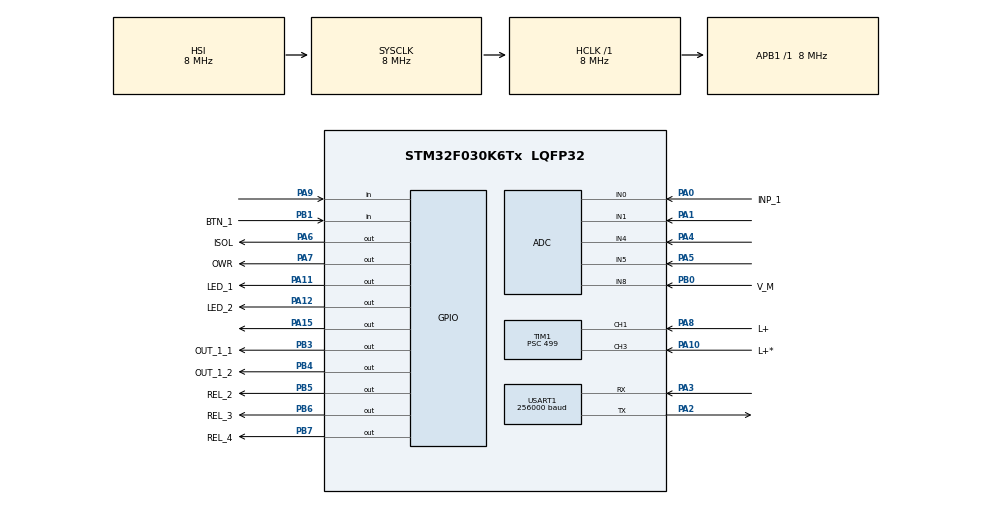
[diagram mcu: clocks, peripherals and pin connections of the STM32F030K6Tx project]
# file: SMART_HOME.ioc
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ADC.ContinuousConvMode=DISABLE
ADC.EnableAnalogWatchDog=false
ADC.SamplingTime=ADC_SAMPLETIME_7CYCLES_5
ADC.ScanConvMode=ADC_SCAN_DIRECTION_FORWARD
Dma.Request0=USART1_TX
Dma.USART1_TX.0.Direction=DMA_MEMORY_TO_PERIPH
Dma.USART1_TX.0.Instance=DMA1_Channel2
Dma.USART1_TX.0.MemDataAlignment=DMA_MDATAALIGN_BYTE
Dma.USART1_TX.0.MemInc=DMA_MINC_ENABLE
Dma.USART1_TX.0.Mode=DMA_NORMAL
Dma.USART1_TX.0.PeriphDataAlignment=DMA_PDATAALIGN_BYTE
Dma.USART1_TX.0.PeriphInc=DMA_PINC_DISABLE
Dma.USART1_TX.0.Priority=DMA_PRIORITY_LOW
IWDG.Prescaler=IWDG_PRESCALER_64
Mcu.Family=STM32F0
Mcu.Name=STM32F030K6Tx
Mcu.Package=LQFP32
NVIC.ADC1_IRQn=true\:0\:0\:false\:false\:true\:true\:true\:true
NVIC.DMA1_Channel2_3_IRQn=true\:0\:0\:false\:false\:true\:false\:true\:true
NVIC.RCC_IRQn=true\:0\:0\:false\:false\:true\:true\:false\:true
NVIC.TIM1_BRK_UP_TRG_COM_IRQn=true\:0\:0\:false\:false\:true\:true\:true\:true
NVIC.TIM1_CC_IRQn=true\:0\:0\:false\:false\:true\:true\:true\:true
NVIC.TIM3_IRQn=true\:0\:0\:false\:false\:true\:true\:true\:true
NVIC.USART1_IRQn=true\:0\:0\:false\:false\:true\:true\:true\:true
PA0.GPIO_Label=INP_1
PA0.Mode=IN0
PA0.Signal=ADC_IN0
PA1.Mode=IN1
PA1.Signal=ADC_IN1
PA10.GPIO_Label=L+*
PA10.GPIO_PuPd=GPIO_NOPULL
PA10.Signal=S_TIM1_CH3
PA11.GPIO_Label=LED_1
PA11.Signal=GPIO_Output
PA12.GPIO_Label=LED_2
PA12.Signal=GPIO_Output
PA13.Mode=Serial_Wire
PA13.Signal=SYS_SWDIO
PA14.Mode=Serial_Wire
PA14.Signal=SYS_SWCLK
PA15.Signal=GPIO_Output
PA2.Mode=Asynchronous
PA2.Signal=USART1_TX
PA3.Mode=Asynchronous
PA3.Signal=USART1_RX
PA4.Mode=IN4
PA4.Signal=ADC_IN4
PA5.Mode=IN5
PA5.Signal=ADC_IN5
PA6.GPIO_Label=ISOL
PA6.Signal=GPIO_Output
PA7.GPIO_Label=OWR
PA7.GPIO_Speed=GPIO_SPEED_FREQ_HIGH
PA7.Signal=GPIO_Output
PA8.GPIO_Label=L+
PA8.GPIO_PuPd=GPIO_NOPULL
PA8.Signal=S_TIM1_CH1
PA9.Signal=GPIO_Input
PB0.GPIO_Label=V_M
PB0.Mode=IN8
PB0.Signal=ADC_IN8
PB1.GPIO_Label=BTN_1
PB1.Signal=GPIO_Input
PB3.GPIO_Label=OUT_1_1
PB3.Signal=GPIO_Output
PB4.GPIO_Label=OUT_1_2
PB4.Signal=GPIO_Output
PB5.GPIO_Label=REL_2
PB5.Signal=GPIO_Output
PB6.GPIO_Label=REL_3
PB6.Signal=GPIO_Output
PB7.GPIO_Label=REL_4
PB7.Signal=GPIO_Output
PF0-OSC_IN.Mode=HSE-External-Oscillator
PF0-OSC_IN.Signal=RCC_OSC_IN
PF1-OSC_OUT.Mode=HSE-External-Oscillator
PF1-OSC_OUT.Signal=RCC_OSC_OUT
ProjectManager.HeapSize=0x200
ProjectManager.StackSize=0x400
ProjectManager.TargetToolchain=STM32CubeIDE
RCC.AHBFreq_Value=8000000
RCC.APB1Freq_Value=8000000
RCC.APB1TimFreq_Value=8000000
RCC.HCLKFreq_Value=8000000
RCC.PLLMUL=RCC_PLL_MUL6
RCC.SYSCLKFreq_VALUE=8000000
RCC.Usart1ClockSelection=RCC_USART1CLKSOURCE_HSI
SH.S_TIM1_CH1.0=TIM1_CH1,Input_Capture1_from_TI1
SH.S_TIM1_CH3.0=TIM1_CH3,Input_Capture3_from_TI3
TIM1.Channel-Input_Capture1_from_TI1=TIM_CHANNEL_1
TIM1.Channel-Input_Capture2_from_TI1_63=TIM_CHANNEL_2
TIM1.Channel-Input_Capture3_from_TI3=TIM_CHANNEL_3
TIM1.Channel-Input_Capture4_from_TI3_63=TIM_CHANNEL_4
TIM1.ICFilter_CH3=10
TIM1.ICPolarity_CH1=TIM_INPUTCHANNELPOLARITY_FALLING
TIM1.ICPolarity_CH2=TIM_INPUTCHANNELPOLARITY_RISING
TIM1.ICPolarity_CH3=TIM_INPUTCHANNELPOLARITY_FALLING
TIM1.Period=40000
TIM1.Prescaler=499
USART1.BaudRate=256000
USART1.VirtualMode-Asynchronous=VM_ASYNC
VP_ADC_TempSens_Input.Mode=IN-TempSens
VP_ADC_Vref_Input.Mode=IN-Vrefint
VP_IWDG_VS_IWDG.Mode=IWDG_Activate
VP_TIM1_VS_ClockSourceINT.Mode=Internal
VP_TIM1_VS_indirect_ch1.Mode=Input_Capture2_from_TI1_63
VP_TIM1_VS_indirect_ch3.Mode=Input_Capture4_from_TI3_63
VP_TIM3_VS_ClockSourceINT.Mode=Internal
board=custom

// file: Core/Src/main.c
/* USER CODE BEGIN Header */
/**
  ******************************************************************************
  * @file           : main.c
  * @brief          : Main program body
  ******************************************************************************
  * @attention
  *
  * Copyright (c) 2023 STMicroelectronics.
  * All rights reserved.
  *
  * This software is licensed under terms that can be found in the LICENSE file
  * in the root directory of this software component.
  * If no LICENSE file comes with this software, it is provided AS-IS.
  *
  ******************************************************************************
  */
/* USER CODE END Header */
#include "main.h"

/* USER CODE BEGIN Includes */
#include "string.h"
#include "stdint.h"
#include "stdio.h"
#include "math.h"

/* USER CODE END Includes */

/* USER CODE BEGIN PTD */

#define LED1_ON     HAL_GPIO_WritePin(GPIOA, GPIO_PIN_11,GPIO_PIN_SET);
#define LED1_OFF    HAL_GPIO_WritePin(GPIOA, GPIO_PIN_11,GPIO_PIN_RESET);

#define LED2_ON     HAL_GPIO_WritePin(GPIOA, GPIO_PIN_12,GPIO_PIN_SET);
#define LED2_OFF    HAL_GPIO_WritePin(GPIOA, GPIO_PIN_12,GPIO_PIN_RESET);

#define REL1_2_ON     HAL_GPIO_WritePin(GPIOB, GPIO_PIN_4,GPIO_PIN_SET);
#define REL1_2_OFF    HAL_GPIO_WritePin(GPIOB, GPIO_PIN_4,GPIO_PIN_RESET);

#define REL2_1_ON     HAL_GPIO_WritePin(GPIOB, GPIO_PIN_5,GPIO_PIN_SET);
#define REL2_1_OFF    HAL_GPIO_WritePin(GPIOB, GPIO_PIN_5,GPIO_PIN_RESET);

#define REL2_2_ON     HAL_GPIO_WritePin(GPIOB, GPIO_PIN_6,GPIO_PIN_SET);
#define REL2_2_OFF    HAL_GPIO_WritePin(GPIOB, GPIO_PIN_6,GPIO_PIN_RESET);

#define REL3_1_ON     HAL_GPIO_WritePin(GPIOB, GPIO_PIN_7,GPIO_PIN_SET);
#define REL3_1_OFF    HAL_GPIO_WritePin(GPIOB, GPIO_PIN_7,GPIO_PIN_RESET);

#define REL1_1_ON     HAL_GPIO_WritePin(GPIOB, GPIO_PIN_3,GPIO_PIN_SET);
#define REL1_1_OFF    HAL_GPIO_WritePin(GPIOB, GPIO_PIN_3,GPIO_PIN_RESET);

#define REL3_2_ON     HAL_GPIO_WritePin(GPIOA, GPIO_PIN_15,GPIO_PIN_SET);
#define REL3_2_OFF    HAL_GPIO_WritePin(GPIOA, GPIO_PIN_15,GPIO_PIN_RESET);

#define OWR_ON     HAL_GPIO_WritePin(GPIOA, GPIO_PIN_7,GPIO_PIN_SET);
#define OWR_OFF    HAL_GPIO_WritePin(GPIOA, GPIO_PIN_7,GPIO_PIN_RESET);

#define ISOL_ON     HAL_GPIO_WritePin(GPIOA, GPIO_PIN_6,GPIO_PIN_SET);
#define ISOL_OFF    HAL_GPIO_WritePin(GPIOA, GPIO_PIN_6,GPIO_PIN_RESET);

//#define   BTN  HAL_GPIO_ReadPin(GPIOB,GPIO_PIN_1)==0;
//#define   INP  HAL_GPIO_ReadPin(GPIOA,GPIO_PIN_9);

#define SETTINGS_ADDRESS 0x08007C00
#define TEMP30_CAL_ADDR ((uint16_t*) ((uint32_t) 0x1FFFF7B8))
#define VDD_CALIB ((uint32_t) (3300))
#define VDD_APPLI ((uint32_t) (3000))
#define AVG_SLOPE  .0025
#define V25  0.76

/* USER CODE END PTD */

ADC_HandleTypeDef hadc;

IWDG_HandleTypeDef hiwdg;

TIM_HandleTypeDef htim1;
TIM_HandleTypeDef htim3;

UART_HandleTypeDef huart1;
DMA_HandleTypeDef hdma_usart1_tx;

/* USER CODE BEGIN PV */
//uint16_t adc_val[7]={0,};
uint16_t adc_out=0;
uint16_t period=0;
uint16_t period_x=0;
uint16_t pulse=0;
uint16_t pulse_x=0;
uint16_t v_batt=0;
uint16_t v_CPU=0;
uint16_t temp=0;
uint16_t inp_1=0;
uint16_t inp_2=0;
uint16_t inp_3=0;
uint16_t inp_4=0;
uint8_t alarm=0;
char str[38]={0, };
uint8_t rcvd[248]={0,};
uint8_t count=0;
uint8_t rcv_addres=0;
uint8_t addres_call=0;
uint8_t directive=0;
uint8_t addres=3;
uint8_t new_addres=0;
uint8_t Device_ID=157;//108 БСА
uint8_t temp_ID=0;
uint8_t settings[4]={0,};
uint8_t line_status=0;
uint8_t isol_status=0;
uint8_t led_status=0;
/* USER CODE END PV */

void SystemClock_Config(void);
static void MX_GPIO_Init(void);
static void MX_DMA_Init(void);
static void MX_TIM1_Init(void);
static void MX_USART1_UART_Init(void);
static void MX_ADC_Init(void);
static void MX_TIM3_Init(void);
static void MX_IWDG_Init(void);
/* USER CODE BEGIN PFP */

uint32_t FlashRead(uint32_t address) {
 return (*(__IO uint32_t*)address);
}

void WriteConfig() {
 HAL_FLASH_Unlock(); // Открыть доступ к FLASH (она закрыта от случайной записи)
 // В структуре settings хранятся настройки, преобразую ее в 16-битный массив для удобства доступа
 uint16_t* data = (uint16_t*) &settings;
 FLASH_EraseInitTypeDef ef; // Объявляю структуру, необходимую для функции стирания страницы
 HAL_StatusTypeDef stat;
 ef.TypeErase = FLASH_TYPEERASE_PAGES; // Стирать постранично
 ef.PageAddress = SETTINGS_ADDRESS; // Адрес страницы для стирания
 ef.NbPages = 1; //Число страниц = 1
 uint32_t temp; // Временная переменная для результата стирания (не использую)
 HAL_FLASHEx_Erase(&ef, &temp); // Вызов функции стирания
 // Будьте уверены, что размер структуры настроек кратен 2 байтам
 for (int i = 0; i < sizeof(settings); i += 2) { // Запись всех настроек
  stat = HAL_FLASH_Program (FLASH_TYPEPROGRAM_HALFWORD, SETTINGS_ADDRESS + i, *(data++));
  if (stat != HAL_OK) break; // Если что-то пошло не так - выскочить из цикла
 }
 HAL_FLASH_Lock(); // Закрыть флешку от случайной записи
}

// Пример чтения только 4 байт настроек. Для бОльшего объема данных используйте цикл
void ReadConfig() {
 // Структуру настроек превращаю в указатель на массив 8-ми битных значений
 uint8_t* setData = (uint8_t*)&settings;
 LED1_ON;

 uint32_t tempData = FlashRead(SETTINGS_ADDRESS); // Прочесть слово из флешки
// uint32_t tempData  = *(__IO uint32_t *)SETTINGS_ADDRESS;
 if (tempData != 0xffffffff) { // Если флешка не пустая
 setData[0] = (uint8_t)((tempData & 0xff000000) >> 24); // �?звлечь первый байт из слова
 setData[1] = (uint8_t)((tempData & 0x00ff0000) >> 16); // �?звлечь второй байт из слова
 setData[2] = (uint8_t)((tempData & 0x0000ff00) >> 8); // �?злечь третий байт из слова
 setData[3] = tempData & 0xff; // �?звлечь четвертый байт из слова
 }
}

void Print_test(void){

	//sprintf(str, "\n\r Cnt-%02d,per-%04d,pul-%04d,adr-%04d,dir-%04d\n\r",count,period,pulse,rcv_addres,directive);
	sprintf(str, "\n\r Cnt-%02d,pul-%04d,adr-%04d,dir-%04d\n\r",count,rcvd[count],rcv_addres,directive);
	// LED2_ON;
	 HAL_UART_Transmit_DMA(&huart1, str, sizeof(str));

}

void TCT(void){

	                 if (count==13){OWR_ON;}
	                 if ((count==14)&&(alarm==1)){OWR_ON;LED2_ON;}
	                // if (count==14){Print_test();}
		        	 if (count==22){OWR_ON;}
		        	 if (count==31){OWR_ON;}
		        	 if (count==40){OWR_ON;}
		        	 if (count==49){OWR_ON;}
		        	 if (count==58){OWR_ON;}
		        	 if (count==67){OWR_ON;}
		        	 if (count==76){OWR_ON;}
		        	 if (count==85){OWR_ON;}
		        	 if (count==94){OWR_ON;}
		        	 if (count==103){OWR_ON;}
		        	 if (count==112){OWR_ON;}
		        	 if (count==121){OWR_ON;}
		        	 if (count==130){OWR_ON;}
		        	 if (count==139){OWR_ON;}
		        	 if (count==148){OWR_ON;}
		        	 if (count==157){OWR_ON;}

}

void Quick_protocol(void){
	 if((rcvd[1]==1)&&(rcvd[2]==0))
	        	  {

		               if(count==2){
	        	       addres_call=addres_call+1;
	        	       if(addres_call==addres){OWR_ON;}}
		               if((count==3)&&(addres_call==addres)&&(alarm==1)){OWR_ON;LED2_ON;}}}

void Protocol(void){

	//Print_test();
	           // if ((count==9)&&(alarm=1)){OWR_ON;}
	 if ((count==14)&&(alarm==1)){OWR_ON;LED2_ON;}
              TCT();

	        	 if (count==13)
	        	         	   {  directive=0;

	        	         	     directive|= (rcvd[9]<<4)|(rcvd[10]<<3)|(rcvd[11]<<2)|(rcvd[12]<<1)|(rcvd[13]) ;

	        	         	   OWR_ON;
	        	         	    }

	        	         	 switch(directive)
	        	         			   {

	        	         	case 0 :
	        	         		//led_status=0;
                                  TCT();
                                  if ((count==14)&&(alarm==1)){OWR_ON;LED2_ON;}
                                  if (count==15){OWR_ON;LED2_ON;}
	        	            break;

	        	         	case 1 :
	        	         		led_status=1;
	        	         	      TCT();

	        	         	     if ((count==14)&&(alarm==1)){OWR_ON;LED2_ON;}
	        	         	    if(count==29){OWR_ON;LED2_ON;LED1_ON;} //Светодиод
	        	            break;

	        	         	 case 2 :
	        	         		      TCT();

	        	         		      if ((count==14)&&(alarm==1)){OWR_ON;LED2_ON;}

	        	         	 break;

	        	          	 case 3 :
	        	          	//	led_status=0;
	        	         	                                   TCT();
	        	         	                                  if ((count==14)&&(alarm==1)){OWR_ON;LED2_ON;}
	        	         		        	         		 if((count>=14)&&(count<22))
	        	         		        	         		        	         	       {
	        	         		        	         		        	         	            temp_ID|=((Device_ID>>(21-count))&(0b1));
	        	         		        	         		        	         	            if(temp_ID==1){OWR_ON;}
	        	         		        	         		        	         	            if(temp_ID==0){OWR_OFF;}
	        	         		        	         		        	         	            temp_ID=0;
	        	         		        	         		        	         	       }

	        	         		        	         	/*     if((count>=23)&&(count<31)&&(alarm==1))  //Статус прибора.выходов
	        	         		        	         	             	        	      			{
	        	         		        	         	             	        	      				temp_ID|=((1)&(0b1));
	        	         		        	         	             	        	      				if(temp_ID==1){ OWR_ON;}
	        	         		        	         	             	        	      				if(temp_ID==0){ }
	        	         		        	         	             	        	      				temp_ID=0;
	        	         		        	         	            	        	      			}

	        	         		        	         	      */

	        	         		        	         //if(count==26){OWR_ON;}//EEPROM ERROR
	        	         		        	         //	if(count==27){OWR_ON;} //�?золятор линии
	        	         		        	         //	if(count==28){OWR_ON;} //Сработка изолятора
	        	         		        	         	if((count==29)&&(led_status==1)){OWR_ON;LED2_ON;} //Светодиод
	        	         		        	          if((count==30)&&(alarm==1)){OWR_ON;LED2_ON;} //Тревога

	        	         		        	         	  //   if((count>=32)&&(count<40)){OWR_ON;}
	        	         		        	         	 //  if((count==32)){OWR_ON;}  //КЗ шлейфа2
	        	         		        	         	// if((count==33)){OWR_ON;}  //ОБрыв шлейфа2
	        	         		        	         	// if((count==34)){OWR_ON;}  //КЗ шлейфа1
	        	         		        	         	//	if((count==35)){OWR_ON;}  //обрыв шлейфа1
	        	         		        	         	//	if((count==36)){OWR_ON;}  //неиспр реле
	        	         		        	         	//	if((count==37)){OWR_ON;}  //неиспр реле
	        	         		        	         	//	if((count==38)){OWR_ON;}  //неиспр реле
	        	         		        	         	//	if((count==39)){OWR_ON;}  //неиспр реле
	        	         		        	            //if((count==32)||(count==33)){OWR_ON;}  //Тревога шлейфа2
	        	         		        	         	//if((count==34)||(count==35)){OWR_ON;}  //Тревога шлейфа1
	        	         		        	            //if((count==36)||(count==37)){OWR_ON;}  //Неиспр реле
	        	         		        	            //  if((count==38)||(count==39)){OWR_ON;}  //обрыв цепи управления

	        	         		        	         if((count>=50)&&(count<58))
	        	         		        	            {
	        	         		        	        	  temp_ID|=((v_CPU>>(57-count))&(0b1));
	        	         		        	        	  if(temp_ID==1){OWR_ON;}
	        	         		        	        	  if(temp_ID==0){OWR_OFF;}
	        	         		        	        	  temp_ID=0;
	        	         		        	         }

	        	         		        	         //	   if((count>=86)||(count<94)){OWR_ON;}
	        	         		        	        // if((count=93)){OWR_ON;}

	        	         		        	              //Тестовый опрос
	        	         		        	         	//      if(count==44){ OWR_ON;}

	        	         		        	         	  break;

	        	         	case 4 :
	        	         		      TCT();
	        	         		break;

	        	         	 case 6 :

	        	         		 if(count==30){OWR_ON;}
	        	         	  if(count==45){OWR_ON;}
	        	            if(count==46)
	        	           {
	        	            	if((rcvd[35]==1)&&(rcvd[42]==1)) {LED1_ON;}
	        	                if((rcvd[36]==1)&&(rcvd[43]==1)) {LED1_OFF;}
	        	                if((rcvd[37]==1)&&(rcvd[44]==1)) {LED2_ON;}
	        	                if((rcvd[38]==1)&&(rcvd[45]==1)) {LED2_OFF;}

	        	         			        	         			   }

	        	         	 break;
	        	         	case 7 :
	        	         		  TCT();

	        	         	 if ((count==14)&&(alarm==1)){OWR_ON;LED2_ON;}
	        	         	 if (count==50){OWR_ON;}
	        	         	if (count==58){OWR_ON;}
	        	         	 if (count==60){OWR_ON;}
	        	         	 if (count==61){OWR_ON;}

	        	         	 break;

	        	         	 case 13 :

	        	         		        	         	 if(count==30){OWR_ON;}
	        	         		        	         	 if(count==45){OWR_ON;}
	        	         		        	         	 if(count==54){OWR_ON;}
	        	         		        	         	 if(count==63){OWR_ON;}
	        	         		        	         	 if(count==72){OWR_ON;}
	        	         		        	         	 if(count==81){OWR_ON;}
	        	         		        	         	 if(count==90){OWR_ON;}
	        	         		        	         	 if(count==99){OWR_ON;}
	        	         		        	         	 if(count==108){OWR_ON;}
	        	         		        	         	 if(count==117){OWR_ON;}
	        	         		        	         	 if(count==126){OWR_ON;WriteConfig();}
	        	         		        	         	//if(count==127){OWR_ON;WriteConfig();}

	        	         		        	            if(count==46)
	        	         		        	           {
	        	         		        	            	if((rcvd[35]==1)&&(rcvd[42]==1)) {LED1_ON;}
	        	         		        	                if((rcvd[36]==1)&&(rcvd[43]==1)) {LED1_OFF;}
	        	         		        	                if((rcvd[37]==1)&&(rcvd[44]==1)) {LED2_ON;}
	        	         		        	                if((rcvd[38]==1)&&(rcvd[45]==1)) {LED2_OFF;}

	        	         		        	         			        	         			   }

	        	         		        	           if (count==54)
	        	         		        	                           	        	    {
	        	         		        	                           	        	      new_addres=0;
	        	         		        	                           	        	      new_addres|= (rcvd[47]<<7)|(rcvd[48]<<6)|(rcvd[49]<<5)|(rcvd[50]<<4)|(rcvd[51]<<3)|(rcvd[52]<<2)|(rcvd[53]<<1)|(rcvd[54]);
                                                                                          addres=new_addres;
                                                                                          settings[0]=new_addres;
                                                                                          WriteConfig();
                                                                                          HAL_ResumeTick();
	        	         		        	                           	        	    }

	        	         		        	         	 break;

	        	         	  case 14 :

	        	         			   if(count==30){OWR_ON;}
	        	         			   if(count==45){OWR_ON;}
	        	         			   if(count==54){OWR_ON;}

	        	         			   if(count==46)
	        	         			   {

	        	         				   if((rcvd[35]==1)&&(rcvd[42]==1)) {LED1_ON;}
	        	         				   if((rcvd[36]==1)&&(rcvd[43]==1)) {LED1_OFF;}
	        	         				   if((rcvd[37]==1)&&(rcvd[44]==1)) {LED2_ON;}
	        	         				   if((rcvd[38]==1)&&(rcvd[45]==1)) {LED2_OFF;}
	        	         			   }
	        	         			   break;

	        	         			   }
                                  }

void ADC_reset_ch(void){

	 ADC_ChannelConfTypeDef sConfig = {0};

	              sConfig.Channel = ADC_CHANNEL_0;
	              sConfig.Rank = ADC_RANK_NONE;
	              HAL_ADC_ConfigChannel(&hadc, &sConfig);
	              sConfig.Channel = ADC_CHANNEL_1;
	              sConfig.Rank = ADC_RANK_NONE;
	              HAL_ADC_ConfigChannel(&hadc, &sConfig);
	              sConfig.Channel = ADC_CHANNEL_4;
	              sConfig.Rank = ADC_RANK_NONE;
	              HAL_ADC_ConfigChannel(&hadc, &sConfig);
	              sConfig.Channel = ADC_CHANNEL_5;
	              sConfig.Rank = ADC_RANK_NONE;
	              HAL_ADC_ConfigChannel(&hadc, &sConfig);
	              sConfig.Channel = ADC_CHANNEL_8;
	              sConfig.Rank = ADC_RANK_NONE;
	              HAL_ADC_ConfigChannel(&hadc, &sConfig);
	              sConfig.Channel = ADC_CHANNEL_TEMPSENSOR;
	              sConfig.Rank = ADC_RANK_NONE;
	              HAL_ADC_ConfigChannel(&hadc, &sConfig);
	              sConfig.Channel = ADC_CHANNEL_VREFINT;
	              sConfig.Rank = ADC_RANK_NONE;
	              HAL_ADC_ConfigChannel(&hadc, &sConfig);

}
void ADC_Select_CH0 (void)
	  {
	      ADC_ChannelConfTypeDef sConfig = {0};

	  	  sConfig.Channel = ADC_CHANNEL_0;
	  	  sConfig.Rank = ADC_RANK_CHANNEL_NUMBER;
	  	  sConfig.SamplingTime = ADC_SAMPLETIME_28CYCLES_5;
	  	 HAL_ADC_ConfigChannel(&hadc, &sConfig);

	  }

	  void ADC_Select_CH1 (void)
	    {
	    	ADC_ChannelConfTypeDef sConfig = {0};
	    	  /** Configure for the selected ADC regular channel its corresponding rank in the sequencer and its sample time.
	    	  */
	    	  sConfig.Channel = ADC_CHANNEL_1;
	    	  sConfig.Rank = ADC_RANK_CHANNEL_NUMBER;;
	    	  sConfig.SamplingTime = ADC_SAMPLETIME_28CYCLES_5;
	    	  HAL_ADC_ConfigChannel(&hadc, &sConfig);

	    }

	  void ADC_Select_CH4 (void)
	     {
	     	ADC_ChannelConfTypeDef sConfig = {0};
	     	  /** Configure for the selected ADC regular channel its corresponding rank in the sequencer and its sample time.
	     	  */
	     	  sConfig.Channel = ADC_CHANNEL_4;
	     	  sConfig.Rank = ADC_RANK_CHANNEL_NUMBER;
	     	  sConfig.SamplingTime = ADC_SAMPLETIME_13CYCLES_5;
	     	  HAL_ADC_ConfigChannel(&hadc, &sConfig);
	     }

	  void ADC_Select_CH5 (void)
	       {
	       	ADC_ChannelConfTypeDef sConfig = {0};
	       	  /** Configure for the selected ADC regular channel its corresponding rank in the sequencer and its sample time.
	       	  */
	       	  sConfig.Channel = ADC_CHANNEL_5;
	       	  sConfig.Rank = ADC_RANK_CHANNEL_NUMBER;
	       	  sConfig.SamplingTime = ADC_SAMPLETIME_13CYCLES_5;
	       	  HAL_ADC_ConfigChannel(&hadc, &sConfig);
	       }

	  void ADC_Select_CH8 (void)
	         {
	         	ADC_ChannelConfTypeDef sConfig = {0};
	         	  /** Configure for the selected ADC regular channel its corresponding rank in the sequencer and its sample time.
	         	  */
	         	  sConfig.Channel = ADC_CHANNEL_8;
	         	  sConfig.Rank = ADC_RANK_CHANNEL_NUMBER;
	         	  sConfig.SamplingTime = ADC_SAMPLETIME_28CYCLES_5;
	         	  HAL_ADC_ConfigChannel(&hadc, &sConfig);
	         }

	  void ADC_Select_CHTemp (void)
	  {
	  	ADC_ChannelConfTypeDef sConfig = {0};
	  	  /** Configure for the selected ADC regular channel its corresponding rank in the sequencer and its sample time.
	  	  */
	  	  sConfig.Channel = ADC_CHANNEL_TEMPSENSOR;
	  	  sConfig.Rank = ADC_RANK_CHANNEL_NUMBER;
	  	  sConfig.SamplingTime =ADC_SAMPLETIME_28CYCLES_5;
	      HAL_ADC_ConfigChannel(&hadc, &sConfig);
	  }

	  void ADC_Select_CH_V_REF (void)
	    {
	    	ADC_ChannelConfTypeDef sConfig = {0};
	    	  /** Configure for the selected ADC regular channel its corresponding rank in the sequencer and its sample time.
	    	  */
	    	  sConfig.Channel = ADC_CHANNEL_VREFINT;
	    	  sConfig.Rank = ADC_RANK_CHANNEL_NUMBER;
	    	  sConfig.SamplingTime =ADC_SAMPLETIME_13CYCLES_5;
	    	  HAL_ADC_ConfigChannel(&hadc, &sConfig);
	    }

	  uint16_t ADC_read(uint8_t n)

	  {

		  switch (n){

			  case 0:
		  ADC_reset_ch();
          ADC_Select_CH0();
          break;
			  case 1:
				  ADC_reset_ch();
		  ADC_Select_CH1();
          break;

			  case 2:
				  ADC_reset_ch();
		  ADC_Select_CH4();
		  break;

			  case 3:
				  ADC_reset_ch();
		  ADC_Select_CH5();
		  break;

			  case 4:
				  ADC_reset_ch();
		  ADC_Select_CH8();
		  break;

			  case 5:
				  ADC_reset_ch();
		  ADC_Select_CHTemp();
		  break;

			  case 6:
				  ADC_reset_ch();
		  ADC_Select_CH_V_REF();
		  break;

		  }
 		  HAL_ADC_Start(&hadc);
 		  HAL_ADC_PollForConversion(&hadc, 100);
 		  adc_out = HAL_ADC_GetValue(&hadc);
 		  HAL_ADC_Stop(&hadc);
 		// adc_val[n]=adc_out;
 		// return adc_val[n];

 		  return adc_out;
	  }
/* USER CODE END PFP */

int main(void)
{

  /* MCU Configuration--------------------------------------------------------*/

  /* Reset of all peripherals, Initializes the Flash interface and the Systick. */
  HAL_Init();

  /* Configure the system clock */
  SystemClock_Config();

  /* Initialize all configured peripherals */
  MX_GPIO_Init();
  MX_DMA_Init();
  MX_TIM1_Init();
  MX_USART1_UART_Init();
  MX_ADC_Init();
  MX_TIM3_Init();
  MX_IWDG_Init();
  /* USER CODE BEGIN 2 */

  ReadConfig();

      ISOL_ON;
      alarm=0;

     HAL_TIM_IC_Start_IT(&htim1, TIM_CHANNEL_1);
     HAL_TIM_IC_Start_IT(&htim1, TIM_CHANNEL_2);
     HAL_TIM_IC_Start_IT(&htim1, TIM_CHANNEL_3);
     HAL_TIM_IC_Start_IT(&htim1, TIM_CHANNEL_4);

     addres=settings[0];
     if(settings[0]==0xFF){addres=0;}
     LED1_OFF;
     LED2_OFF;
     HAL_PWR_EnterSLEEPMode(PWR_MAINREGULATOR_ON, PWR_SLEEPENTRY_WFI);
    HAL_SuspendTick();
   HAL_PWR_EnableSleepOnExit ();
  /* USER CODE END 2 */

  /* Infinite loop */
  /* USER CODE BEGIN WHILE */
  while (1)
  {

	//  LED1_ON;
	//  WriteConfig();
	//  LED1_OFF;
	//  HAL_SuspendTick();
	 // HAL_PWR_EnableSleepOnExit ();

    /* USER CODE END WHILE */

  }
}

void SystemClock_Config(void)
{
  RCC_OscInitTypeDef RCC_OscInitStruct = {0};
  RCC_ClkInitTypeDef RCC_ClkInitStruct = {0};
  RCC_PeriphCLKInitTypeDef PeriphClkInit = {0};

  /** Initializes the RCC Oscillators according to the specified parameters
  * in the RCC_OscInitTypeDef structure.
  */
  RCC_OscInitStruct.OscillatorType = RCC_OSCILLATORTYPE_HSI|RCC_OSCILLATORTYPE_HSI14
                              |RCC_OSCILLATORTYPE_LSI;
  RCC_OscInitStruct.HSIState = RCC_HSI_ON;
  RCC_OscInitStruct.HSI14State = RCC_HSI14_ON;
  RCC_OscInitStruct.HSICalibrationValue = RCC_HSICALIBRATION_DEFAULT;
  RCC_OscInitStruct.HSI14CalibrationValue = 16;
  RCC_OscInitStruct.LSIState = RCC_LSI_ON;
  RCC_OscInitStruct.PLL.PLLState = RCC_PLL_NONE;
  if (HAL_RCC_OscConfig(&RCC_OscInitStruct) != HAL_OK)
  {
    Error_Handler();
  }

  /** Initializes the CPU, AHB and APB buses clocks
  */
  RCC_ClkInitStruct.ClockType = RCC_CLOCKTYPE_HCLK|RCC_CLOCKTYPE_SYSCLK
                              |RCC_CLOCKTYPE_PCLK1;
  RCC_ClkInitStruct.SYSCLKSource = RCC_SYSCLKSOURCE_HSI;
  RCC_ClkInitStruct.AHBCLKDivider = RCC_SYSCLK_DIV1;
  RCC_ClkInitStruct.APB1CLKDivider = RCC_HCLK_DIV1;

  if (HAL_RCC_ClockConfig(&RCC_ClkInitStruct, FLASH_LATENCY_0) != HAL_OK)
  {
    Error_Handler();
  }
  PeriphClkInit.PeriphClockSelection = RCC_PERIPHCLK_USART1;
  PeriphClkInit.Usart1ClockSelection = RCC_USART1CLKSOURCE_HSI;
  if (HAL_RCCEx_PeriphCLKConfig(&PeriphClkInit) != HAL_OK)
  {
    Error_Handler();
  }
}

static void MX_ADC_Init(void)
{

  ADC_ChannelConfTypeDef sConfig = {0};

  /** Configure the global features of the ADC (Clock, Resolution, Data Alignment and number of conversion)
  */
  hadc.Instance = ADC1;
  hadc.Init.ClockPrescaler = ADC_CLOCK_ASYNC_DIV1;
  hadc.Init.Resolution = ADC_RESOLUTION_12B;
  hadc.Init.DataAlign = ADC_DATAALIGN_RIGHT;
  hadc.Init.ScanConvMode = ADC_SCAN_DIRECTION_FORWARD;
  hadc.Init.EOCSelection = ADC_EOC_SINGLE_CONV;
  hadc.Init.LowPowerAutoWait = DISABLE;
  hadc.Init.LowPowerAutoPowerOff = DISABLE;
  hadc.Init.ContinuousConvMode = DISABLE;
  hadc.Init.DiscontinuousConvMode = DISABLE;
  hadc.Init.ExternalTrigConv = ADC_SOFTWARE_START;
  hadc.Init.ExternalTrigConvEdge = ADC_EXTERNALTRIGCONVEDGE_NONE;
  hadc.Init.DMAContinuousRequests = DISABLE;
  hadc.Init.Overrun = ADC_OVR_DATA_PRESERVED;
  if (HAL_ADC_Init(&hadc) != HAL_OK)
  {
    Error_Handler();
  }

  /** Configure for the selected ADC regular channel to be converted.
  */
  sConfig.Channel = ADC_CHANNEL_0;
  sConfig.Rank = ADC_RANK_CHANNEL_NUMBER;
  sConfig.SamplingTime = ADC_SAMPLETIME_7CYCLES_5;
  if (HAL_ADC_ConfigChannel(&hadc, &sConfig) != HAL_OK)
  {
    Error_Handler();
  }

  /** Configure for the selected ADC regular channel to be converted.
  */
  sConfig.Channel = ADC_CHANNEL_1;
  if (HAL_ADC_ConfigChannel(&hadc, &sConfig) != HAL_OK)
  {
    Error_Handler();
  }

  /** Configure for the selected ADC regular channel to be converted.
  */
  sConfig.Channel = ADC_CHANNEL_4;
  if (HAL_ADC_ConfigChannel(&hadc, &sConfig) != HAL_OK)
  {
    Error_Handler();
  }

  /** Configure for the selected ADC regular channel to be converted.
  */
  sConfig.Channel = ADC_CHANNEL_5;
  if (HAL_ADC_ConfigChannel(&hadc, &sConfig) != HAL_OK)
  {
    Error_Handler();
  }

  /** Configure for the selected ADC regular channel to be converted.
  */
  sConfig.Channel = ADC_CHANNEL_8;
  if (HAL_ADC_ConfigChannel(&hadc, &sConfig) != HAL_OK)
  {
    Error_Handler();
  }

  /** Configure for the selected ADC regular channel to be converted.
  */
  sConfig.Channel = ADC_CHANNEL_TEMPSENSOR;
  if (HAL_ADC_ConfigChannel(&hadc, &sConfig) != HAL_OK)
  {
    Error_Handler();
  }

  /** Configure for the selected ADC regular channel to be converted.
  */
  sConfig.Channel = ADC_CHANNEL_VREFINT;
  if (HAL_ADC_ConfigChannel(&hadc, &sConfig) != HAL_OK)
  {
    Error_Handler();
  }

}

static void MX_IWDG_Init(void)
{

  hiwdg.Instance = IWDG;
  hiwdg.Init.Prescaler = IWDG_PRESCALER_64;
  hiwdg.Init.Window = 4095;
  hiwdg.Init.Reload = 4095;
  if (HAL_IWDG_Init(&hiwdg) != HAL_OK)
  {
    Error_Handler();
  }

}

static void MX_TIM1_Init(void)
{

  TIM_ClockConfigTypeDef sClockSourceConfig = {0};
  TIM_MasterConfigTypeDef sMasterConfig = {0};
  TIM_IC_InitTypeDef sConfigIC = {0};

  htim1.Instance = TIM1;
  htim1.Init.Prescaler = 499;
  htim1.Init.CounterMode = TIM_COUNTERMODE_UP;
  htim1.Init.Period = 40000;
  htim1.Init.ClockDivision = TIM_CLOCKDIVISION_DIV1;
  htim1.Init.RepetitionCounter = 0;
  htim1.Init.AutoReloadPreload = TIM_AUTORELOAD_PRELOAD_DISABLE;
  if (HAL_TIM_Base_Init(&htim1) != HAL_OK)
  {
    Error_Handler();
  }
  sClockSourceConfig.ClockSource = TIM_CLOCKSOURCE_INTERNAL;
  if (HAL_TIM_ConfigClockSource(&htim1, &sClockSourceConfig) != HAL_OK)
  {
    Error_Handler();
  }
  if (HAL_TIM_IC_Init(&htim1) != HAL_OK)
  {
    Error_Handler();
  }
  sMasterConfig.MasterOutputTrigger = TIM_TRGO_RESET;
  sMasterConfig.MasterSlaveMode = TIM_MASTERSLAVEMODE_DISABLE;
  if (HAL_TIMEx_MasterConfigSynchronization(&htim1, &sMasterConfig) != HAL_OK)
  {
    Error_Handler();
  }
  sConfigIC.ICPolarity = TIM_INPUTCHANNELPOLARITY_FALLING;
  sConfigIC.ICSelection = TIM_ICSELECTION_DIRECTTI;
  sConfigIC.ICPrescaler = TIM_ICPSC_DIV1;
  sConfigIC.ICFilter = 0;
  if (HAL_TIM_IC_ConfigChannel(&htim1, &sConfigIC, TIM_CHANNEL_1) != HAL_OK)
  {
    Error_Handler();
  }
  sConfigIC.ICPolarity = TIM_INPUTCHANNELPOLARITY_RISING;
  sConfigIC.ICSelection = TIM_ICSELECTION_INDIRECTTI;
  if (HAL_TIM_IC_ConfigChannel(&htim1, &sConfigIC, TIM_CHANNEL_2) != HAL_OK)
  {
    Error_Handler();
  }
  sConfigIC.ICPolarity = TIM_INPUTCHANNELPOLARITY_FALLING;
  sConfigIC.ICSelection = TIM_ICSELECTION_DIRECTTI;
  sConfigIC.ICFilter = 10;
  if (HAL_TIM_IC_ConfigChannel(&htim1, &sConfigIC, TIM_CHANNEL_3) != HAL_OK)
  {
    Error_Handler();
  }
  sConfigIC.ICPolarity = TIM_INPUTCHANNELPOLARITY_RISING;
  sConfigIC.ICSelection = TIM_ICSELECTION_INDIRECTTI;
  sConfigIC.ICFilter = 0;
  if (HAL_TIM_IC_ConfigChannel(&htim1, &sConfigIC, TIM_CHANNEL_4) != HAL_OK)
  {
    Error_Handler();
  }

}

static void MX_TIM3_Init(void)
{

  TIM_ClockConfigTypeDef sClockSourceConfig = {0};
  TIM_MasterConfigTypeDef sMasterConfig = {0};

  htim3.Instance = TIM3;
  htim3.Init.Prescaler = 0;
  htim3.Init.CounterMode = TIM_COUNTERMODE_UP;
  htim3.Init.Period = 65535;
  htim3.Init.ClockDivision = TIM_CLOCKDIVISION_DIV1;
  htim3.Init.AutoReloadPreload = TIM_AUTORELOAD_PRELOAD_DISABLE;
  if (HAL_TIM_Base_Init(&htim3) != HAL_OK)
  {
    Error_Handler();
  }
  sClockSourceConfig.ClockSource = TIM_CLOCKSOURCE_INTERNAL;
  if (HAL_TIM_ConfigClockSource(&htim3, &sClockSourceConfig) != HAL_OK)
  {
    Error_Handler();
  }
  sMasterConfig.MasterOutputTrigger = TIM_TRGO_RESET;
  sMasterConfig.MasterSlaveMode = TIM_MASTERSLAVEMODE_DISABLE;
  if (HAL_TIMEx_MasterConfigSynchronization(&htim3, &sMasterConfig) != HAL_OK)
  {
    Error_Handler();
  }

}

static void MX_USART1_UART_Init(void)
{

  huart1.Instance = USART1;
  huart1.Init.BaudRate = 256000;
  huart1.Init.WordLength = UART_WORDLENGTH_8B;
  huart1.Init.StopBits = UART_STOPBITS_1;
  huart1.Init.Parity = UART_PARITY_NONE;
  huart1.Init.Mode = UART_MODE_TX_RX;
  huart1.Init.HwFlowCtl = UART_HWCONTROL_NONE;
  huart1.Init.OverSampling = UART_OVERSAMPLING_16;
  huart1.Init.OneBitSampling = UART_ONE_BIT_SAMPLE_DISABLE;
  huart1.AdvancedInit.AdvFeatureInit = UART_ADVFEATURE_NO_INIT;
  if (HAL_UART_Init(&huart1) != HAL_OK)
  {
    Error_Handler();
  }

}

static void MX_DMA_Init(void)
{

  /* DMA controller clock enable */
  __HAL_RCC_DMA1_CLK_ENABLE();

  /* DMA interrupt init */
  /* DMA1_Channel2_3_IRQn interrupt configuration */
  HAL_NVIC_SetPriority(DMA1_Channel2_3_IRQn, 0, 0);
  HAL_NVIC_EnableIRQ(DMA1_Channel2_3_IRQn);

}

static void MX_GPIO_Init(void)
{
  GPIO_InitTypeDef GPIO_InitStruct = {0};

  /* GPIO Ports Clock Enable */
  __HAL_RCC_GPIOF_CLK_ENABLE();
  __HAL_RCC_GPIOA_CLK_ENABLE();
  __HAL_RCC_GPIOB_CLK_ENABLE();

  /*Configure GPIO pin Output Level */
  HAL_GPIO_WritePin(GPIOA, ISOL_Pin|OWR_Pin|LED_1_Pin|LED_2_Pin
                          |GPIO_PIN_15, GPIO_PIN_RESET);

  /*Configure GPIO pin Output Level */
  HAL_GPIO_WritePin(GPIOB, OUT_1_1_Pin|OUT_1_2_Pin|REL_2_Pin|REL_3_Pin
                          |REL_4_Pin, GPIO_PIN_RESET);

  /*Configure GPIO pins : ISOL_Pin LED_1_Pin LED_2_Pin PA15 */
  GPIO_InitStruct.Pin = ISOL_Pin|LED_1_Pin|LED_2_Pin|GPIO_PIN_15;
  GPIO_InitStruct.Mode = GPIO_MODE_OUTPUT_PP;
  GPIO_InitStruct.Pull = GPIO_NOPULL;
  GPIO_InitStruct.Speed = GPIO_SPEED_FREQ_LOW;
  HAL_GPIO_Init(GPIOA, &GPIO_InitStruct);

  /*Configure GPIO pin : OWR_Pin */
  GPIO_InitStruct.Pin = OWR_Pin;
  GPIO_InitStruct.Mode = GPIO_MODE_OUTPUT_PP;
  GPIO_InitStruct.Pull = GPIO_NOPULL;
  GPIO_InitStruct.Speed = GPIO_SPEED_FREQ_HIGH;
  HAL_GPIO_Init(OWR_GPIO_Port, &GPIO_InitStruct);

  /*Configure GPIO pin : BTN_1_Pin */
  GPIO_InitStruct.Pin = BTN_1_Pin;
  GPIO_InitStruct.Mode = GPIO_MODE_INPUT;
  GPIO_InitStruct.Pull = GPIO_NOPULL;
  HAL_GPIO_Init(BTN_1_GPIO_Port, &GPIO_InitStruct);

  /*Configure GPIO pin : PA9 */
  GPIO_InitStruct.Pin = GPIO_PIN_9;
  GPIO_InitStruct.Mode = GPIO_MODE_INPUT;
  GPIO_InitStruct.Pull = GPIO_NOPULL;
  HAL_GPIO_Init(GPIOA, &GPIO_InitStruct);

  /*Configure GPIO pins : OUT_1_1_Pin OUT_1_2_Pin REL_2_Pin REL_3_Pin
                           REL_4_Pin */
  GPIO_InitStruct.Pin = OUT_1_1_Pin|OUT_1_2_Pin|REL_2_Pin|REL_3_Pin
                          |REL_4_Pin;
  GPIO_InitStruct.Mode = GPIO_MODE_OUTPUT_PP;
  GPIO_InitStruct.Pull = GPIO_NOPULL;
  GPIO_InitStruct.Speed = GPIO_SPEED_FREQ_LOW;
  HAL_GPIO_Init(GPIOB, &GPIO_InitStruct);

}

/* USER CODE BEGIN 4 */
void HAL_TIM_IC_CaptureCallback(TIM_HandleTypeDef *htim)
 {
     if (htim->Instance == TIM1)
     {

         if((htim->Channel == HAL_TIM_ACTIVE_CHANNEL_1)&&(line_status==0))
         {

        	 period = HAL_TIM_ReadCapturedValue(&htim1, TIM_CHANNEL_1);

        	 TIM1->CNT=0;
         if(HAL_GPIO_ReadPin(GPIOB,GPIO_PIN_1)==0)   {alarm=1;}
        	 OWR_OFF;LED1_OFF;LED2_OFF;
        	 if((count==192)||(period>=100)){
        		 Print_test();
        		 count=0;}

        	 line_status=1;
        	 }

         if((htim->Channel == HAL_TIM_ACTIVE_CHANNEL_3)&&(line_status==0))
                  {
                 	 period_x = HAL_TIM_ReadCapturedValue(&htim1, TIM_CHANNEL_3);

                 	 TIM1->CNT=0;
                  if(HAL_GPIO_ReadPin(GPIOB,GPIO_PIN_1)==0)   {alarm=1;}
                 	 OWR_OFF;LED1_OFF;LED2_OFF;
                 	 if((count==192)||(period_x>=100)){
                 		Print_test();
                 		 count=0;

                 	 }
                 	 ISOL_ON;
                 	 line_status=2;
                 	 }

         HAL_PWR_EnableSleepOnExit ();
         }

          if(htim->Channel == HAL_TIM_ACTIVE_CHANNEL_2) // FALLING с HIGH на LOW
                        { pulse = HAL_TIM_ReadCapturedValue(&htim1, TIM_CHANNEL_2);
                          HAL_IWDG_Refresh(&hiwdg);

                          if(line_status==1){ISOL_OFF};
                          line_status=0;
                          if((ADC_read(0))>=150){alarm=0;}
                          if((ADC_read(0))<150){alarm=1;}

                        OWR_OFF;LED2_OFF;

             if((pulse>55)&&(pulse<60))  {count=0;rcvd[count]=2;rcv_addres=0;directive=0;}
        	 if((pulse>36)&&(pulse<40))  rcvd[count]=1;
        	 if((pulse>16)&&(pulse<21))  rcvd[count]=0;
        	 if (count<5){Quick_protocol();}

        	 //if (count==14){Print_test();}
        	 if (count==8)
        	        	    {
        	        	      rcv_addres=0;
        	        	      rcv_addres|= (rcvd[1]<<7)|(rcvd[2]<<6)|(rcvd[3]<<5)|(rcvd[4]<<4)|(rcvd[5]<<3)|(rcvd[6]<<2)|(rcvd[7]<<1)|(rcvd[8]);
        	        	      if(rcv_addres==0){addres_call=0;}

        	        	    }
        	 if((rcv_addres==addres)&&(count>8)){Protocol();}
        	  v_CPU=ADC_read(8)/16;

        	  count++;

                        }

          if((htim->Channel == HAL_TIM_ACTIVE_CHANNEL_4)&&(line_status!=0)) // FALLING с HIGH на LOW
                                 {
                                   pulse_x = HAL_TIM_ReadCapturedValue(&htim1, TIM_CHANNEL_4);
                                   HAL_IWDG_Refresh(&hiwdg);

                                   line_status=0;
                                 OWR_OFF;LED2_OFF;
                             if((ADC_read(0))>=150){alarm=0;}
                             if((ADC_read(0))<150){alarm=1;}

                      if((pulse_x>55)&&(pulse_x<60))  {count=0;rcvd[count]=2;rcv_addres=0;directive=0;}
                 	 if((pulse_x>36)&&(pulse_x<40))  rcvd[count]=1;
                 	 if((pulse_x>16)&&(pulse_x<21))  rcvd[count]=0;
                 	 if (count<5){Quick_protocol();}

                 	 if (count==8)
                 	        	    {
                 	        	      rcv_addres=0;
                 	        	      rcv_addres|= (rcvd[1]<<7)|(rcvd[2]<<6)|(rcvd[3]<<5)|(rcvd[4]<<4)|(rcvd[5]<<3)|(rcvd[6]<<2)|(rcvd[7]<<1)|(rcvd[8]);
                 	        	      if(rcv_addres==0){addres_call=0;}

                 	        	    }
                 	 if((rcv_addres==addres)&&(count>8)){Protocol();}
                 	 v_CPU=ADC_read(8)/16;

                 	  count++;
                                 }

          HAL_PWR_EnableSleepOnExit ();
     }

void HAL_UART_TxCpltCallback(UART_HandleTypeDef *huart)

{
 // LED2_OFF;
}

/* USER CODE END 4 */

void Error_Handler(void)
{
  __disable_irq();
  while (1)
  {
  }
}
